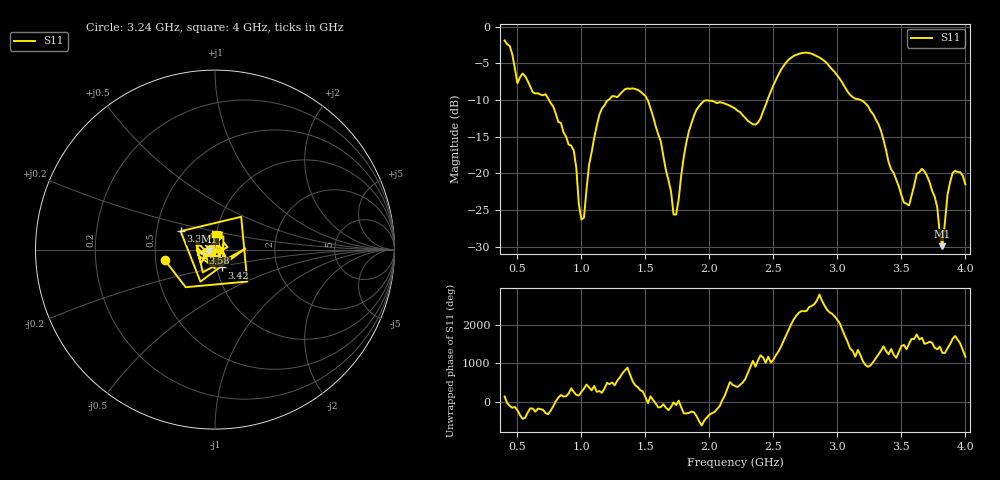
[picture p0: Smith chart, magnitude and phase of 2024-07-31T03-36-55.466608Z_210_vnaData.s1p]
!Created with skrf (http://scikit-rf.org).
# Hz S RI R 50.0
!freq ReS11 ImS11
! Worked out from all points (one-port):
!   181 points, 400 MHz to 4 GHz, reference 50 ohm
!   lowest |S11| = -29.9 dB at 3.82 GHz (marker M1), VSWR 1.07, Z = 47 - j0.692 ohm
!   |S11| at or under -10 dB: 747.1 MHz to 1.209 GHz (462 MHz wide, 47.2 % of centre); 1.518 GHz to 2.454 GHz (935.5 MHz wide, 47.1 % of centre); 3.183 GHz to end of sweep
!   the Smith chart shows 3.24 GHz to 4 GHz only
!   S11 on the Smith chart (normalised r, x): 3.24 GHz: 0.56, -0.07; 3.32 GHz: 0.67, +0.14; 3.42 GHz: 1.06, -0.21; 3.58 GHz: 0.87, -0.04; 4 GHz: 0.99, +0.17
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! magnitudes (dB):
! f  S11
! 400 MHz  -1.9
! 500 MHz  -7.7
! 720 MHz  -9.2
! 860 MHz  -14.4
! 940 MHz  -16.9
! 1 GHz  -26.3
! 1.14 GHz  -12.0
! 1.3 GHz  -9.2
! 1.52 GHz  -10.1
! 1.72 GHz  -25.6
! 1.76 GHz  -23.5
! 1.82 GHz  -15.8
! 1.9 GHz  -11.3
! 2.2 GHz  -11.1
! 2.38 GHz  -13.1
! 2.66 GHz  -4.0
! 2.88 GHz  -4.4
! 3.1 GHz  -9.3
! 3.24 GHz  -10.8
! 3.32 GHz  -13.3
! 3.42 GHz  -19.4
! 3.56 GHz  -24.3
! 3.58 GHz  -23.0
! 3.68 GHz  -19.7
! 3.78 GHz  -24.6
! 3.82 GHz  -29.9
! 3.9 GHz  -19.9
! 4 GHz  -21.5
